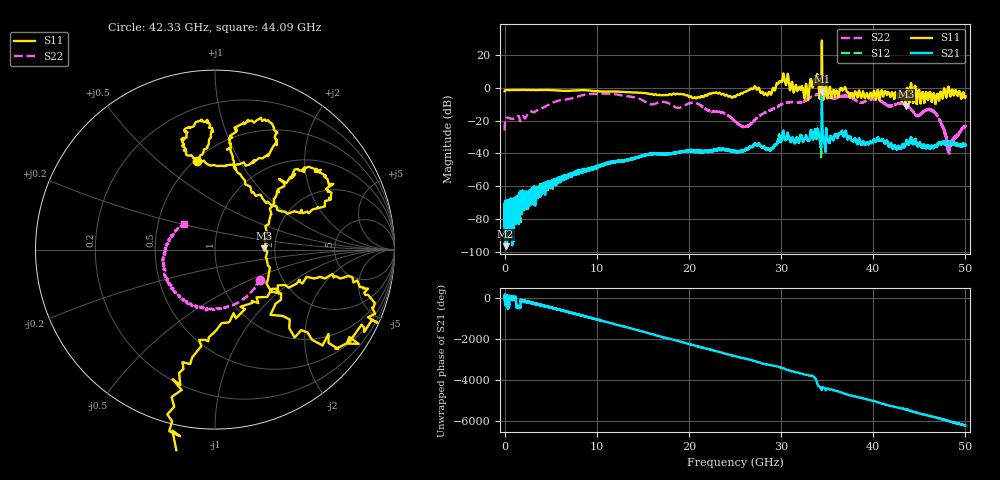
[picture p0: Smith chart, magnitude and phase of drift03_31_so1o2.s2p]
!Created with skrf (http://scikit-rf.org).
# Hz S RI R 50.0
!freq ReS11 ImS11 ReS21 ImS21 ReS12 ImS12 ReS22 ImS22
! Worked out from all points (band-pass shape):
!   10000 points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, 5.3 MHz to 50 GHz, reference 50 ohm
!   highest |S21| = -2.45 dB at 34.43 GHz (marker M1); lowest = -96.5 dB at 115.3 MHz (marker M2)
!   |S21| within 3 dB of the highest: 34.42761 GHz to 34.43446 GHz (6.851 MHz wide, 0.0199 % of centre)
!   lowest |S11| = -11.2 dB at 43.52 GHz (marker M3), VSWR 1.76, Z = 87.9 + j1.22 ohm
!   |S11| at or under -10 dB: 43.49347 GHz to 43.54316 GHz (49.69 MHz wide, 0.114 % of centre)
!   |S22| runs from -40.2 to -3.6 dB; largest |S21 - S12| = 0.24
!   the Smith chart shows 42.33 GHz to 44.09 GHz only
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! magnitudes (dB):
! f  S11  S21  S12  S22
! 5.3 MHz  -2.1  -75.1  -74.8  -26.1
! 115.3 MHz  -1.5  -96.5  -77.8  -18.7
! 8.34 GHz  -1.5  -50.4  -51.1  -4.7
! 16.67 GHz  -4.4  -40.3  -40.4  -9.1
! 20.72 GHz  -6.2  -38.3  -38.4  -9.3
! 25.01 GHz  -5.5  -38.7  -38.8  -20.3
! 26.22 GHz  -2.2  -37.5  -37.5  -23.7
! 27.36 GHz  -1.1  -34.9  -34.8  -18.5
! 28.72 GHz  -2.5  -37.7  -37.7  -14.0
! 30.14 GHz  4.4  -29.5  -29.8  -9.9
! 32.74 GHz  2.0  -29.5  -29.3  -7.4
! 33.34 GHz  2.5  -27.3  -27.7  -5.3
! 33.82 GHz  4.0  -28.9  -29.5  -4.3
! 34.43 GHz  28.8  -2.5  -4.5  -4.0
! 36.49 GHz  -0.3  -27.9  -28.0  -5.4
! 38.88 GHz  -2.3  -32.8  -32.6  -9.0
! 41.67 GHz  -3.0  -35.5  -35.5  -11.0
! 43.52 GHz  -11.2  -34.1  -34.4  -10.5
! 44.77 GHz  -7.7  -35.0  -34.9  -17.3
! 46.66 GHz  -5.4  -35.7  -35.9  -15.3
! 48.24 GHz  -1.4  -33.9  -33.0  -36.4
! 50 GHz  -5.2  -35.1  -35.1  -23.5
